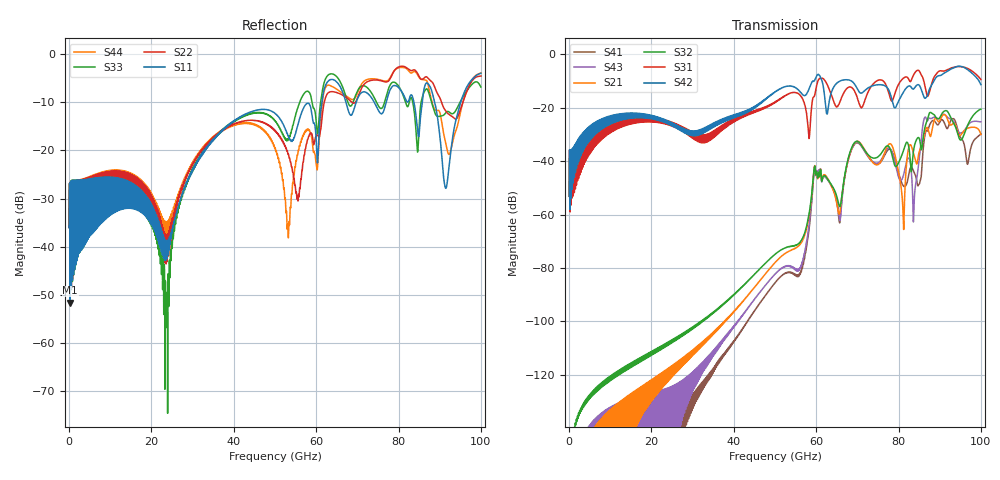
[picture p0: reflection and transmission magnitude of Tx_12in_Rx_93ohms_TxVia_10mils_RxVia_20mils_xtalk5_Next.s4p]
! Info: Touchstone file created by Circ.  Input file=Tx_12in_Rx_93ohms_TxVia_10mils_RxVia_20mils.circ
# Hz S RI R 50
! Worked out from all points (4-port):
!   10000 points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, 10 MHz to 100 GHz, reference 50 ohm
!   strongest paths, dB at 10 MHz, 25.01 GHz, 50.01 GHz, 75.01 GHz, 100 GHz:
!     S42: -53.2, -26.6, -14.2, -11.4, -11.4
!     S31: -53.2, -26.6, -18.1, -9.8, -9.5
!     S32: -178.0, -108.0, -74.9, -38.4, -20.6
!     S21: -, -120.3, -78.0, -41.4, -30.0
!     S43: -154.6, -130.5, -82.3, -40.7, -25.3
!     S41: -154.8, -145.0, -85.6, -41.1, -29.9
!   lowest |S11| = -51.6 dB at 270 MHz (marker M1), VSWR 1.01, Z = 49.8 - j0.203 ohm
!   |S11| at or under -10 dB: start of sweep to 61.38 GHz; 74.08 GHz to 77.02 GHz (2.94 GHz wide, 3.89 % of centre); 88.79 GHz to 95.1 GHz (6.316 GHz wide, 6.87 % of centre)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
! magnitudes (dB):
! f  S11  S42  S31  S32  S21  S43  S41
! 10 MHz  -36.1  -53.2  -53.2  -178.0  -  -154.6  -154.8
! 270 MHz  -51.6  -47.1  -47.1  -153.8  -183.3  -182.8  -182.9
! 23.73 GHz  -42.5  -24.8  -24.8  -108.8  -121.1  -137.9  -139.1
! 55.73 GHz  -14.2  -13.5  -14.8  -70.8  -71.7  -80.5  -82.5
! 59.8 GHz  -15.5  -9.2  -14.3  -43.7  -43.6  -43.8  -44.0
! 83.79 GHz  -10.2  -12.8  -7.3  -34.8  -37.8  -55.4  -44.2
! 100 GHz  -4.0  -11.4  -9.5  -20.6  -30.0  -25.3  -29.9
